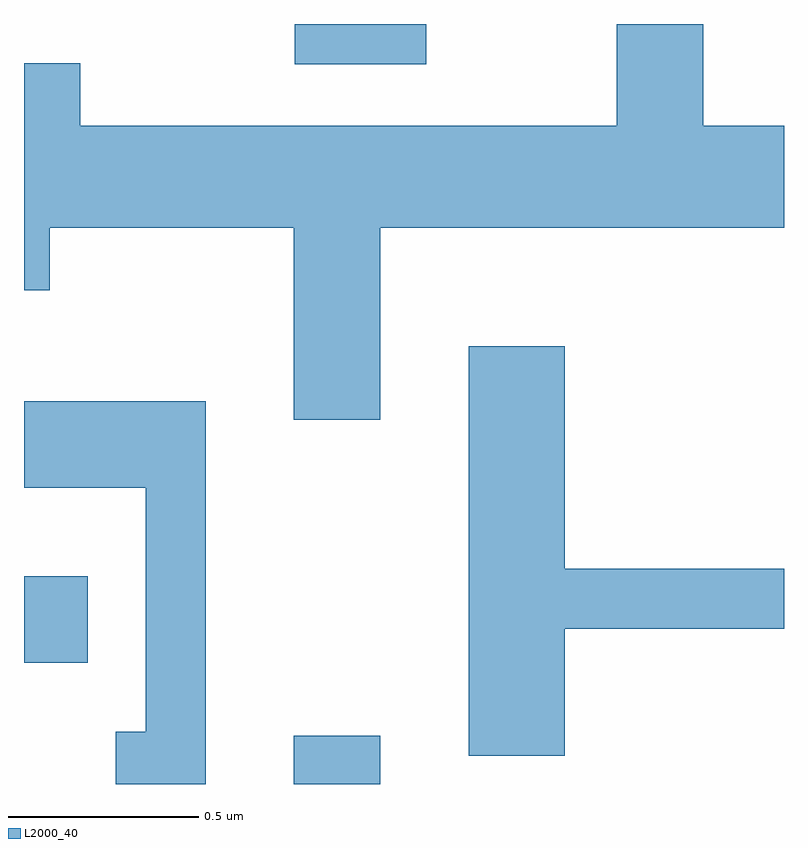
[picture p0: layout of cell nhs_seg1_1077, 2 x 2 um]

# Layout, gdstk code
import gdstk
lib = gdstk.Library(unit=1e-6, precision=1e-09)
def R(c, l, rs):  # rectangles x0, y0, x1, y1
    for r in rs: c.add(gdstk.rectangle(r[:2], r[2:], *l))
def P(c, l, *ps):  # polygons
    for p in ps: c.add(gdstk.Polygon(p, *l))
L2000_40 = (2000, 40)

nhs_seg1_1077 = lib.new_cell('nhs_seg1_1077')
R(nhs_seg1_1077, L2000_40, [(193.321,964.712,193.549,964.839), (192.611,965.031,192.779,965.259), (193.323,966.606,193.669,966.712)])
P(nhs_seg1_1077, L2000_40, [(193.549,966.176),(194.611,966.176),(194.611,966.444),(194.399,966.444),(194.399,966.712),(194.171,966.712),(194.171,966.444),(192.759,966.444),(192.759,966.609),(192.611,966.609),(192.611,966.011),(192.679,966.011),(192.679,966.176),(193.321,966.176),(193.321,965.671),(193.549,965.671)],
  [(194.034,965.121),(194.611,965.121),(194.611,965.279),(194.034,965.279),(194.034,965.864),(193.781,965.864),(193.781,964.786),(194.034,964.786)],
  [(193.089,965.719),(192.611,965.719),(192.611,965.491),(192.931,965.491),(192.931,964.849),(192.853,964.849),(192.853,964.712),(193.089,964.712)])

lib.write_gds('nhs_seg1_1077.gds')
